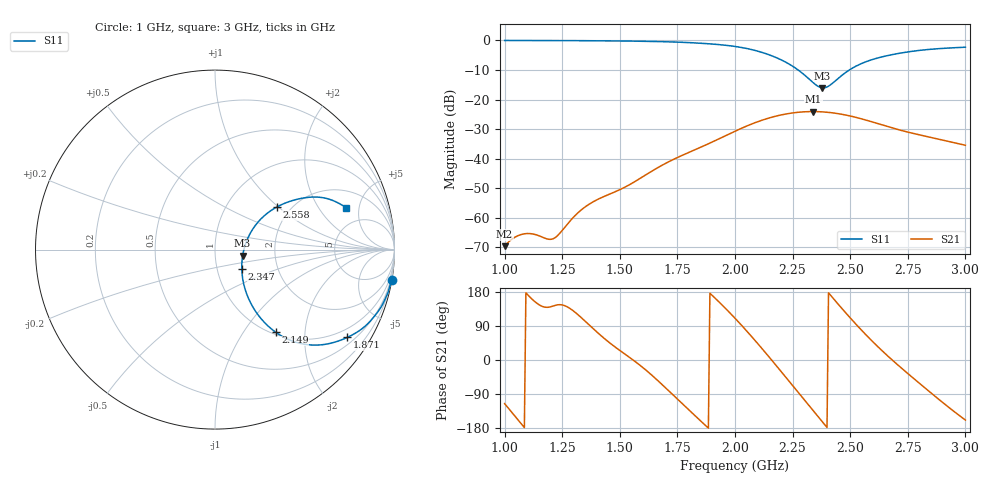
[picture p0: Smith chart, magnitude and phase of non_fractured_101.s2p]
! TOUCHSTONE file generated by CST MICROWAVE STUDIO
! Date and time: Sat Mar  8 13:54:40 2025
! Project name: non_fractured.cst
! Parameters = {B=2.5; D=160; F=10; Feed=2.85625; L=100; M=10; R=0.384908; S=1.5; Theta=0; length=57.125; wave=114.25}
! Header version: 2024
! Port assignment regex: !\s*Touchstone port\s*([0-9]+)\s*=\s*(CST MWS port|CST DES external port|CST DES block port)\s*(.+)\s* \(\"(.*)\"\)(\s*mode\s*([0-9]+))?.*
! Touchstone port assignment:
! Touchstone port 1 = CST MWS port 1 ("")
! Touchstone port 2 = CST MWS port 2 ("")
# GHz S DB R 50
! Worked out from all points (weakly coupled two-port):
!   304 points, 1 GHz to 3 GHz, reference 50 ohm
!   highest |S21| = -24.06 dB at 2.34 GHz (marker M1); lowest = -69.6 dB at 1 GHz (marker M2)
!   lowest |S11| = -16.1 dB at 2.38 GHz (marker M3), VSWR 1.37, Z = 68 - j4.69 ohm
!   |S11| at or under -10 dB: 2.274 GHz to 2.496 GHz (222.2 MHz wide, 9.32 % of centre)
!   S12 and S22 are empty: the file has one direction only
!   S11 on the Smith chart (normalised r, x): 1 GHz: 0, -12; 1.871 GHz: 0.70, -3.18; 2.149 GHz: 1.04, -1.41; 2.347 GHz: 1.31, -0.29; 2.558 GHz: 1.70, +0.98; 3 GHz: 3.24, +3.68
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1  -0.02 -9.7  -69.56 -115.1  -200.00 0.0  -200.00 0.0
1.0396  -0.02 -10.3  -66.77 -144.8  -200.00 0.0  -200.00 0.0
1.08581  -0.03 -10.9  -65.38 -178.3  -200.00 0.0  -200.00 0.0
1.21122  -0.05 -12.9  -67.03 142.5  -200.00 0.0  -200.00 0.0
1.33663  -0.09 -15.2  -57.07 109.7  -200.00 0.0  -200.00 0.0
1.39604  -0.12 -16.4  -54.07 76.3  -200.00 0.0  -200.00 0.0
1.53465  -0.21 -19.9  -49.10 10.2  -200.00 0.0  -200.00 0.0
1.66667  -0.39 -24.1  -42.94 -55.3  -200.00 0.0  -200.00 0.0
1.87129  -1.06 -33.5  -35.41 -172.3  -200.00 0.0  -200.00 0.0
2.0033  -2.08 -42.5  -30.58 108.1  -200.00 0.0  -200.00 0.0
2.07591  -3.17 -48.4  -28.15 59.3  -200.00 0.0  -200.00 0.0
2.14851  -4.88 -53.7  -26.21 7.6  -200.00 0.0  -200.00 0.0
2.24752  -8.59 -56.5  -24.54 -65.6  -200.00 0.0  -200.00 0.0
2.33993  -14.32 -38.8  -24.06 -134.4  -200.00 0.0  -200.00 0.0
2.34653  -14.75 -35.4  -24.06 -139.3  -200.00 0.0  -200.00 0.0
2.37954  -16.05 -12.3  -24.16 -163.6  -200.00 0.0  -200.00 0.0
2.40594  -15.47 7.6  -24.33 177.2  -200.00 0.0  -200.00 0.0
2.47195  -11.33 31.7  -25.10 130.4  -200.00 0.0  -200.00 0.0
2.55776  -7.53 34.6  -26.70 73.2  -200.00 0.0  -200.00 0.0
2.66997  -5.00 30.6  -29.31 6.8  -200.00 0.0  -200.00 0.0
2.83498  -3.10 23.5  -32.54 -79.0  -200.00 0.0  -200.00 0.0
3  -2.30 17.7  -35.44 -158.5  -200.00 0.0  -200.00 0.0
